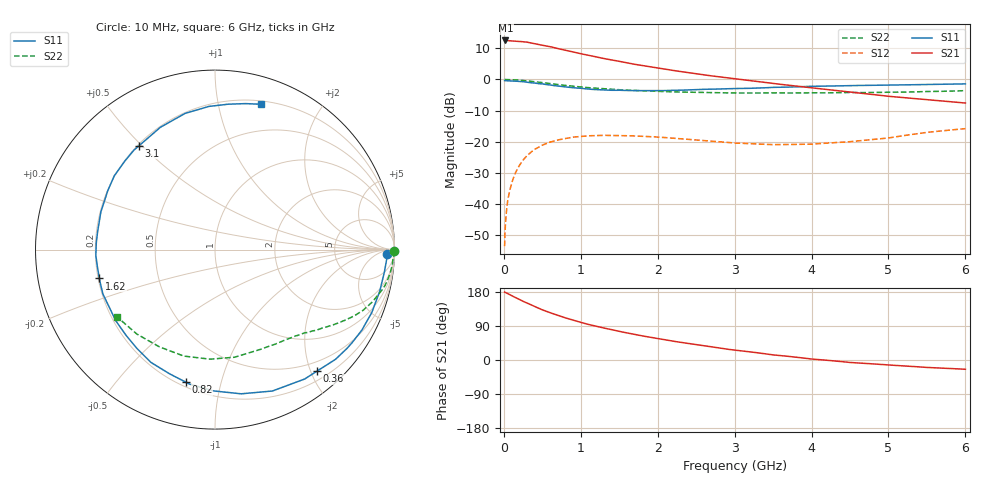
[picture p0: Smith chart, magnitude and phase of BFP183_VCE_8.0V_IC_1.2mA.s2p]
! Infineon Technologies  Discrete & RF Semiconductors
! BFP183
! VCE = 8.0 V,  IC =  1.2 mA
! Common Emitter S-Parameters:  Jan 2016
# GHz  S  MA  R  50
!  f  S11  S21  S12  S22
! GHz  MAG  ANG  MAG  ANG  MAG  ANG  MAG  ANG
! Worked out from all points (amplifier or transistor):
!   210 points, 10 MHz to 6 GHz, reference 50 ohm
!   highest |S21| = 12.5 dB at 20 MHz (marker M1)
!   |S21| within 3 dB of that: start of sweep to 779.1 MHz
!   unconditionally stable (mu >= 1): 2.45 GHz to end of sweep
!   at 185 MHz: K = 0.07, MSG = 20.3 dB, |S12| = -28.4 dB
!   at 1.52 GHz: K = 0.59, MSG = 11.9 dB, |S12| = -18.0 dB
!   at 6 GHz: K = 1.02, MAG = 3.3 dB, |S12| = -15.8 dB
!   S11 on the Smith chart (normalised r, x): 10 MHz: 35, -20; 360 MHz: 0.34, -2.10; 820 MHz: 0.23, -0.78; 1.62 GHz: 0.20, -0.12; 3.1 GHz: 0.21, +0.49; 6 GHz: 0.23, +1.34
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0.01  0.9579 -1.4  4.213 179.2  0.0021 84.5  1 -0.5
0.02  0.9586 -2.9  4.234 178.5  0.0045 86.1  0.9999 -1.1
0.04  0.9536 -6.0  4.214 176.2  0.009 86.8  0.9956 -2.0
0.055  0.951 -8.2  4.2 174.5  0.0122 85.9  0.9933 -2.8
0.125  0.9419 -18.1  4.129 167.4  0.0262 78.5  0.9877 -6.3
0.26  0.9184 -36.9  4.02 154.0  0.0524 68.1  0.9627 -12.8
0.36  0.884 -50.0  3.84 145.0  0.0689 60.2  0.9335 -16.9
0.4  0.8771 -55.3  3.767 141.0  0.0753 57.7  0.923 -18.5
0.5  0.8503 -67.9  3.55 132.4  0.088 50.5  0.8917 -22.3
0.6  0.8166 -79.7  3.377 124.9  0.0987 44.4  0.8597 -25.4
0.7  0.7874 -90.6  3.14 117.7  0.1065 39.0  0.8289 -28.1
0.82  0.7558 -102.5  2.922 110.0  0.1141 33.1  0.7977 -30.9
1.02  0.7172 -121.3  2.561 98.2  0.122 24.8  0.754 -35.0
1.3  0.6803 -144.3  2.17 84.4  0.1265 15.7  0.7073 -39.8
1.62  0.664 -166.0  1.832 70.7  0.1251 8.3  0.6715 -44.7
2.02  0.6615 170.4  1.515 55.9  0.1184 2.3  0.6418 -50.8
2.6  0.6956 143.8  1.182 37.6  0.1043 -1.2  0.6156 -61.1
3.1  0.7171 126.1  0.992 23.8  0.0942 1.1  0.6058 -71.2
3.5  0.7462 114.1  0.863 13.5  0.0898 6.0  0.6095 -79.7
4.1  0.7793 100.4  0.712 1.0  0.0932 16.0  0.6097 -95.4
5.1  0.8161 83.5  0.524 -14.4  0.1202 27.3  0.6248 -122.3
6  0.8495 72.4  0.418 -24.5  0.1624 23.9  0.6618 -145.4
